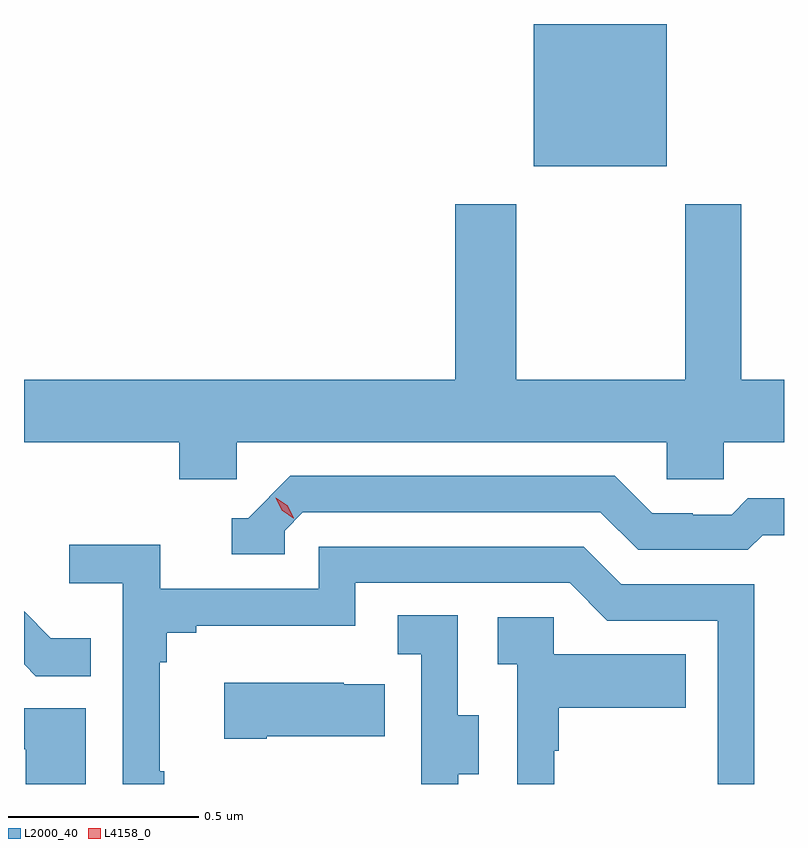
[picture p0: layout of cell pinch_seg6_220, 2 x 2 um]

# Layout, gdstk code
import gdstk
lib = gdstk.Library(unit=1e-6, precision=1e-09)
def R(c, l, rs):  # rectangles x0, y0, x1, y1
    for r in rs: c.add(gdstk.rectangle(r[:2], r[2:], *l))
def P(c, l, *ps):  # polygons
    for p in ps: c.add(gdstk.Polygon(p, *l))
L2000_40 = (2000, 40)
L4158_0 = (4158, 0)

pinch_seg6_220 = lib.new_cell('pinch_seg6_220')
R(pinch_seg6_220, L2000_40, [(1027.376,922.754,1027.726,923.128)])
P(pinch_seg6_220, L2000_40, [(1026.594,922.028),(1027.725,922.028),(1027.725,921.93),(1027.875,921.93),(1027.875,922.028),(1028.034,922.028),(1028.034,922.192),(1027.921,922.192),(1027.921,922.654),(1027.774,922.654),(1027.774,922.192),(1027.329,922.192),(1027.329,922.654),(1027.169,922.654),(1027.169,922.192),(1026.034,922.192),(1026.034,922.028),(1026.443,922.028),(1026.443,921.93),(1026.594,921.93)],
  [(1026.72,921.795),(1026.768,921.843),(1027.551,921.843),(1027.65,921.744),(1027.939,921.744),(1027.978,921.783),(1028.034,921.783),(1028.034,921.88),(1027.939,921.88),(1027.897,921.837),(1027.794,921.837),(1027.794,921.84),(1027.687,921.84),(1027.588,921.939),(1026.735,921.939),(1026.624,921.828),(1026.581,921.828),(1026.581,921.732),(1026.72,921.732)],
  [(1026.403,921.161),(1026.391,921.161),(1026.391,921.449),(1026.41,921.449),(1026.41,921.526),(1026.487,921.526),(1026.487,921.545),(1026.906,921.545),(1026.906,921.657),(1027.47,921.657),(1027.569,921.558),(1027.86,921.558),(1027.86,921.128),(1027.956,921.128),(1027.956,921.654),(1027.606,921.654),(1027.507,921.753),(1026.81,921.753),(1026.81,921.642),(1026.392,921.642),(1026.392,921.758),(1026.153,921.758),(1026.153,921.656),(1026.294,921.656),(1026.294,921.128),(1026.403,921.128)],
  [(1026.209,921.511),(1026.105,921.511),(1026.034,921.582),(1026.034,921.443),(1026.065,921.412),(1026.209,921.412)],
  [(1027.177,921.154),(1027.231,921.154),(1027.231,921.309),(1027.176,921.309),(1027.176,921.572),(1027.017,921.572),(1027.017,921.469),(1027.08,921.469),(1027.08,921.165),(1027.079,921.165),(1027.079,921.128),(1027.177,921.128)],
  [(1027.43,921.215),(1027.441,921.215),(1027.441,921.329),(1027.775,921.329),(1027.775,921.469),(1027.428,921.469),(1027.428,921.567),(1027.281,921.567),(1027.281,921.443),(1027.332,921.443),(1027.332,921.128),(1027.43,921.128)],
  [(1026.673,921.254),(1026.983,921.254),(1026.983,921.391),(1026.875,921.391),(1026.875,921.394),(1026.561,921.394),(1026.561,921.247),(1026.673,921.247)],
  [(1026.196,921.327),(1026.034,921.327),(1026.034,921.219),(1026.038,921.219),(1026.038,921.128),(1026.196,921.128)])
P(pinch_seg6_220, L4158_0, [(1026.743,921.828),(1026.712,921.848),(1026.696,921.88),(1026.696,921.881),(1026.696,921.881),(1026.727,921.861),(1026.744,921.829),(1026.744,921.828)])

lib.write_gds('pinch_seg6_220.gds')
